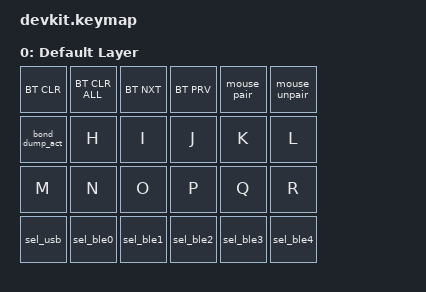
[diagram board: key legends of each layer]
#include <dt-bindings/zmk/bt.h>
#include <dt-bindings/zmk/outputs.h>
#include "../common/keycode_japanese.h"
#include "../common/behaviors.dtsi"
#include <dt-bindings/zmk/rgb.h>

/ {
    keymap {
        compatible = "zmk,keymap";

        default_layer {
            display-name = "Default Layer";
            // bt_clr    bt_clr_all  bt_nxt      bt_prv     mouse_pair  mouse_unpair
            // bond_dump h           i           j          k           l
            // m         n           o           p          q           r
            // sel_usb   sel_ble0    sel_ble1    sel_ble2   sel_ble3    sel_ble4

            bindings = <
                &bt BT_CLR    &bt BT_CLR_ALL &bt BT_NXT &bt BT_PRV &mouse_pair &mouse_unpair
                &bond_dump_act &kp H         &kp I      &kp J      &kp K       &kp L
                &kp M         &kp N          &kp O      &kp P      &kp Q       &kp R
                &sel_usb      &sel_ble0      &sel_ble1  &sel_ble2  &sel_ble3   &sel_ble4
            >;
        };
    };
};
